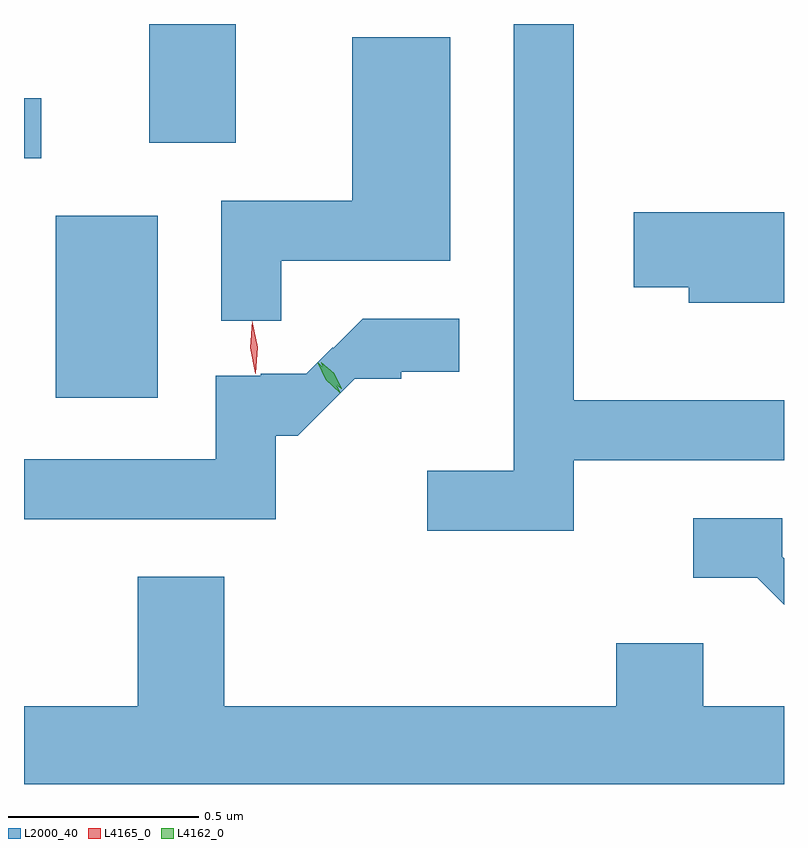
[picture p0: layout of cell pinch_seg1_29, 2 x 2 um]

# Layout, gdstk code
import gdstk
lib = gdstk.Library(unit=1e-6, precision=1e-09)
def R(c, l, rs):  # rectangles x0, y0, x1, y1
    for r in rs: c.add(gdstk.rectangle(r[:2], r[2:], *l))
def P(c, l, *ps):  # polygons
    for p in ps: c.add(gdstk.Polygon(p, *l))
L2000_40 = (2000, 40)
L4162_0 = (4162, 0)
L4165_0 = (4165, 0)

pinch_seg1_29 = lib.new_cell('pinch_seg1_29')
R(pinch_seg1_29, L2000_40, [(1763.676,947.276,1763.944,947.754), (1763.592,947.906,1763.638,948.064), (1763.921,947.946,1764.149,948.259)])
P(pinch_seg1_29, L2000_40, [(1765.039,947.111),(1765.592,947.111),(1765.592,947.269),(1765.039,947.269),(1765.039,948.258),(1764.881,948.258),(1764.881,947.084),(1764.653,947.084),(1764.653,946.926),(1765.039,946.926)],
  [(1764.269,947.636),(1764.714,947.636),(1764.714,948.224),(1764.456,948.224),(1764.456,947.794),(1764.111,947.794),(1764.111,947.478),(1764.269,947.478)],
  [(1765.592,947.764),(1765.196,947.764),(1765.196,947.566),(1765.341,947.566),(1765.341,947.526),(1765.592,947.526)],
  [(1764.254,947.176),(1764.313,947.176),(1764.463,947.326),(1764.585,947.326),(1764.585,947.344),(1764.738,947.344),(1764.738,947.484),(1764.484,947.484),(1764.406,947.406),(1764.404,947.408),(1764.335,947.339),(1764.215,947.339),(1764.215,947.334),(1764.096,947.334),(1764.096,947.114),(1763.592,947.114),(1763.592,946.956),(1764.254,946.956)],
  [(1765.592,946.853),(1765.588,946.857),(1765.588,946.959),(1765.353,946.959),(1765.353,946.802),(1765.521,946.802),(1765.592,946.731)],
  [(1765.592,946.464),(1765.379,946.464),(1765.379,946.629),(1765.151,946.629),(1765.151,946.464),(1764.119,946.464),(1764.119,946.804),(1763.891,946.804),(1763.891,946.464),(1763.592,946.464),(1763.592,946.259),(1765.592,946.259)])
P(pinch_seg1_29, L4162_0, [(1764.423,947.289),(1764.386,947.323),(1764.365,947.368),(1764.365,947.368),(1764.366,947.368),(1764.402,947.335),(1764.424,947.29),(1764.424,947.289)],
  [(1764.427,947.299),(1764.393,947.328),(1764.374,947.368),(1764.374,947.369),(1764.374,947.369),(1764.409,947.34),(1764.428,947.299),(1764.428,947.299)])
P(pinch_seg1_29, L4165_0, [(1764.201,947.342),(1764.187,947.407),(1764.192,947.474),(1764.192,947.474),(1764.192,947.474),(1764.207,947.408),(1764.202,947.342),(1764.202,947.342)],
  [(1764.202,947.339),(1764.201,947.34),(1764.187,947.407),(1764.192,947.477),(1764.192,947.477),(1764.192,947.477),(1764.207,947.409),(1764.202,947.34)])

lib.write_gds('pinch_seg1_29.gds')
